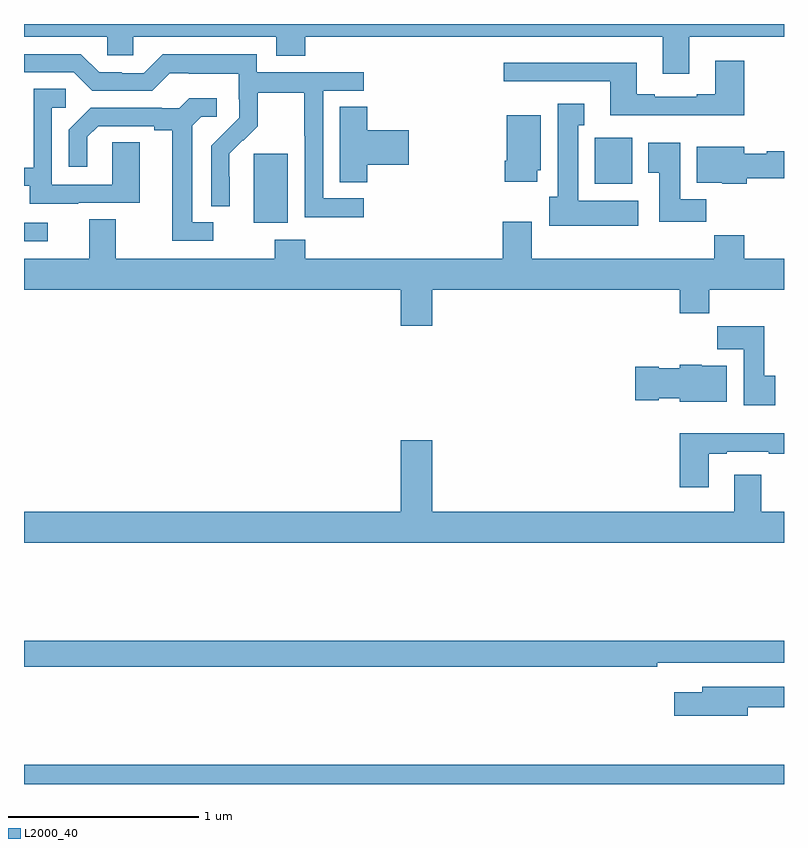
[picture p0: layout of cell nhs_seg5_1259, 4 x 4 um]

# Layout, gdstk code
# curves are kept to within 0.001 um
import gdstk
lib = gdstk.Library(unit=1e-6, precision=1e-09)
def R(c, l, rs):  # rectangles x0, y0, x1, y1
    for r in rs: c.add(gdstk.rectangle(r[:2], r[2:], *l))
def P(c, l, *ps):  # polygons
    for p in ps: c.add(gdstk.Polygon(p, *l))
L2000_40 = (2000, 40)

nhs_seg5_1259 = lib.new_cell('nhs_seg5_1259')
R(nhs_seg5_1259, L2000_40, [(187,880.799,191,880.9), (187,883.656,187.126,883.752), (188.21,883.754,188.389,884.115), (190.004,883.958,190.201,884.2)])
P(nhs_seg5_1259, L2000_40, [(190.501,884.732),(191,884.732),(191,884.799),(187,884.799),(187,884.732),(187.437,884.732),(187.437,884.634),(187.575,884.634),(187.575,884.732),(188.327,884.732),(188.327,884.633),(188.48,884.633),(188.48,884.732),(190.361,884.732),(190.361,884.538),(190.501,884.538)],
  [(188.788,883.881),(188.574,883.881),(188.574,884.448),(188.788,884.448),(188.788,884.544),(188.226,884.544),(188.226,884.641),(187.729,884.641),(187.629,884.541),(187.514,884.541),(187.514,884.544),(187.395,884.544),(187.299,884.64),(187,884.64),(187,884.544),(187.263,884.544),(187.359,884.448),(187.674,884.448),(187.767,884.541),(187.867,884.541),(187.867,884.537),(188.13,884.537),(188.13,884.403),(188.132,884.403),(188.132,884.306),(187.986,884.158),(187.986,883.84),(188.082,883.84),(188.081,884.117),(188.151,884.187),(188.154,884.184),(188.231,884.261),(188.231,884.436),(188.476,884.436),(188.476,884.212),(188.478,884.212),(188.478,883.783),(188.788,883.783)],
  [(190.79,884.605),(190.637,884.605),(190.637,884.428),(190.541,884.428),(190.541,884.415),(190.321,884.415),(190.321,884.428),(190.225,884.428),(190.225,884.596),(189.525,884.596),(189.525,884.499),(190.085,884.499),(190.085,884.318),(190.79,884.318)],
  [(187.285,883.857),(187.609,883.857),(187.609,884.177),(187.464,884.177),(187.464,883.953),(187.146,883.953),(187.146,884.358),(187.219,884.358),(187.219,884.459),(187.05,884.459),(187.05,884.043),(187,884.043),(187,883.947),(187.031,883.947),(187.031,883.853),(187.285,883.853)],
  [(187.996,883.755),(187.885,883.755),(187.885,884.263),(187.932,884.31),(188.014,884.31),(188.014,884.407),(187.87,884.407),(187.818,884.355),(187.724,884.355),(187.724,884.358),(187.352,884.358),(187.236,884.242),(187.236,884.049),(187.333,884.049),(187.333,884.205),(187.39,884.262),(187.685,884.262),(187.685,884.24),(187.781,884.24),(187.781,883.659),(187.996,883.659)],
  [(190.234,883.87),(189.916,883.87),(189.916,884.267),(189.949,884.267),(189.949,884.38),(189.809,884.38),(189.809,883.89),(189.764,883.89),(189.764,883.736),(190.234,883.736)],
  [(188.807,884.057),(189.025,884.057),(189.025,884.24),(188.807,884.24),(188.807,884.363),(188.663,884.363),(188.663,883.966),(188.807,883.966)],
  [(189.7,884.028),(189.721,884.028),(189.721,884.32),(189.542,884.32),(189.542,884.08),(189.53,884.08),(189.53,883.968),(189.7,883.968)],
  [(190.592,883.876),(190.453,883.876),(190.453,884.173),(190.286,884.173),(190.286,884.017),(190.343,884.017),(190.343,883.758),(190.592,883.758)],
  [(190.805,883.987),(191,883.987),(191,884.129),(190.908,884.129),(190.908,884.116),(190.792,884.116),(190.792,884.152),(190.541,884.152),(190.541,883.964),(190.674,883.964),(190.674,883.958),(190.805,883.958)],
  [(189.148,883.4),(190.451,883.4),(190.451,883.276),(190.607,883.276),(190.607,883.4),(191,883.4),(191,883.564),(190.79,883.564),(190.79,883.688),(190.633,883.688),(190.633,883.564),(189.673,883.564),(189.673,883.759),(189.521,883.759),(189.521,883.564),(188.48,883.564),(188.48,883.663),(188.32,883.663),(188.32,883.564),(187.483,883.564),(187.483,883.772),(187.343,883.772),(187.343,883.564),(187,883.564),(187,883.4),(188.984,883.4),(188.984,883.212),(189.148,883.212)],
  [(190.954,882.948),(190.897,882.948),(190.897,883.207),(190.648,883.207),(190.648,883.088),(190.787,883.088),(190.787,882.792),(190.954,882.792)],
  [(190.699,883),(190.566,883),(190.566,883.006),(190.452,883.006),(190.452,882.988),(190.341,882.988),(190.341,882.996),(190.218,882.996),(190.218,882.818),(190.341,882.818),(190.341,882.83),(190.452,882.83),(190.452,882.812),(190.699,882.812)],
  [(190.603,882.537),(190.699,882.537),(190.699,882.549),(190.919,882.549),(190.919,882.537),(191,882.537),(191,882.646),(190.451,882.646),(190.451,882.36),(190.603,882.36)],
  [(191,882.232),(190.879,882.232),(190.879,882.427),(190.739,882.427),(190.739,882.232),(189.148,882.232),(189.148,882.607),(188.984,882.607),(188.984,882.232),(187,882.232),(187,882.068),(191,882.068)],
  [(190.334,881.436),(191,881.436),(191,881.552),(187,881.552),(187,881.416),(190.334,881.416)],
  [(190.81,881.202),(191,881.202),(191,881.31),(190.571,881.31),(190.571,881.281),(190.422,881.281),(190.422,881.159),(190.81,881.159)])

lib.write_gds('nhs_seg5_1259.gds')
